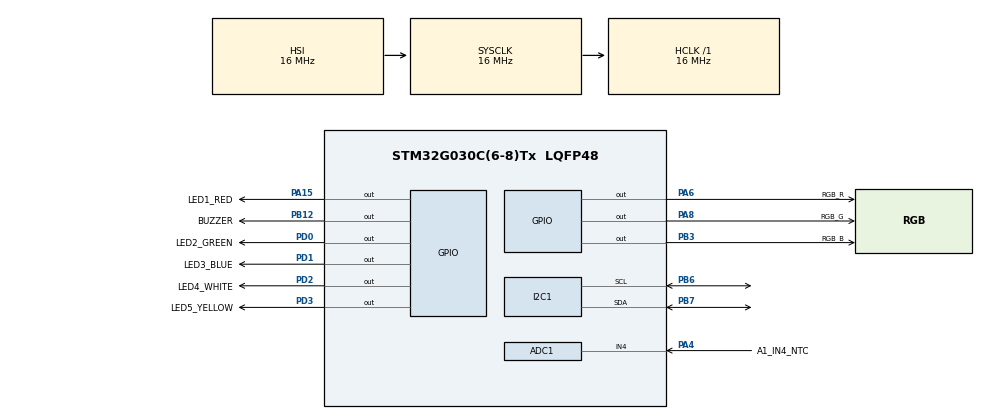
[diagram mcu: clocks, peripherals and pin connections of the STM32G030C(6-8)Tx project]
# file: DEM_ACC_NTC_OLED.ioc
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ADC1.Channel-0\#ChannelRegularConversion=ADC_CHANNEL_4
ADC1.NbrOfConversionFlag=1
ADC1.Rank-0\#ChannelRegularConversion=1
ADC1.SamplingTime-0\#ChannelRegularConversion=ADC_SAMPLINGTIME_COMMON_1
ADC1.SelectedChannel=ADC_CHANNEL_4
ADC1.master=1
I2C1.Timing=0x00503D58
Mcu.Family=STM32G0
Mcu.Name=STM32G030C(6-8)Tx
Mcu.Package=LQFP48
PA13.Mode=Serial_Wire
PA13.Signal=SYS_SWDIO
PA14-BOOT0.Mode=Serial_Wire
PA14-BOOT0.Signal=SYS_SWCLK
PA15.GPIO_Label=LED1_RED
PA15.Signal=GPIO_Output
PA4.GPIO_Label=A1_IN4_NTC
PA4.Mode=IN4
PA4.Signal=ADC1_IN4
PA6.GPIO_Label=RGB_R
PA6.Signal=GPIO_Output
PA8.GPIO_Label=RGB_G
PA8.Signal=GPIO_Output
PB12.GPIO_Label=BUZZER
PB12.Signal=GPIO_Output
PB3.GPIO_Label=RGB_B
PB3.Signal=GPIO_Output
PB6.Mode=I2C
PB6.Signal=I2C1_SCL
PB7.Mode=I2C
PB7.Signal=I2C1_SDA
PD0.GPIO_Label=LED2_GREEN
PD0.Signal=GPIO_Output
PD1.GPIO_Label=LED3_BLUE
PD1.Signal=GPIO_Output
PD2.GPIO_Label=LED4_WHITE
PD2.Signal=GPIO_Output
PD3.GPIO_Label=LED5_YELLOW
PD3.Signal=GPIO_Output
PF0-OSC_IN\ (PF0).Mode=HSE-External-Oscillator
PF0-OSC_IN\ (PF0).Signal=RCC_OSC_IN
PF1-OSC_OUT\ (PF1).Mode=HSE-External-Oscillator
PF1-OSC_OUT\ (PF1).Signal=RCC_OSC_OUT
ProjectManager.HeapSize=0x200
ProjectManager.StackSize=0x400
ProjectManager.TargetToolchain=STM32CubeIDE
RCC.AHBFreq_Value=16000000
RCC.CortexFreq_Value=16000000
RCC.EXTERNAL_CLOCK_VALUE=12288000
RCC.HCLKFreq_Value=16000000
RCC.HSE_VALUE=8000000
RCC.HSI_VALUE=16000000
RCC.SYSCLKFreq_VALUE=16000000
RCC.VCOOutputFreq_Value=128000000
VP_RTC_VS_RTC_Activate.Mode=RTC_Enabled
board=custom

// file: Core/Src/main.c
/* USER CODE BEGIN Header */
/**
  ******************************************************************************
  * @file           : main.c
  * @brief          : Main program body
  ******************************************************************************
  * @attention
  *
  * Copyright (c) 2025 STMicroelectronics.
  * All rights reserved.
  *
  * This software is licensed under terms that can be found in the LICENSE file
  * in the root directory of this software component.
  * If no LICENSE file comes with this software, it is provided AS-IS.
  *
  ******************************************************************************
  */
/* USER CODE END Header */
#include "lis2dw12_reg.h"
#include "ssd1306.h"
#include "stdio.h"
#include "string.h"
#include "ssd1306_tests.h"
#include "DigitalInputOutputs.h"

double Termistor(uint32_t analogValue)
{
double temperature;
uint32_t adcval = 4096 - analogValue;

temperature = log((adcval * 10000) / (4095 - adcval));
temperature = 1 / (0.001129148 + (0.000234125 + (0.0000000876741 * temperature * temperature)) * temperature);
temperature = temperature - 273.15;
return temperature;
}

/* USER CODE BEGIN PTD */
uint8_t counter = 0;
uint8_t rgbcounter = 0;
double Temp1;
/* USER CODE END PTD */

/* USER CODE BEGIN PM */
#define 	SENSOR_BUS 	hi2c1
#define 	BOOT_TIME 20 //ms
/* USER CODE END PM */

ADC_HandleTypeDef hadc1;

I2C_HandleTypeDef hi2c1;

RTC_HandleTypeDef hrtc;

/* USER CODE BEGIN PV */
volatile uint64_t SYSTickTimer = 0; //Sistemin zamanlayıcısının (SysTick) sayaç değeri için kullanılır. Zamanlayıcı tabanlı olayları izlemek için kullanılır.

stmdev_ctx_t dev_ctx; // Bir sensör veya cihazla ilgili işlemleri yönetmek için kullanılan bir yapı.

static int16_t data_raw_acceleration[3]; // İvmeölçerden gelen ham ivme verilerini tutar.
static float acceleration_mg[3]; //Ham ivme verilerini milig cinsine çevirip saklar
static uint8_t whoamI, rst; //Bir sensörün veya cihazın sıfırlama durumunu izlemek için kullanılır.
SystemClockTimer_t SysClkTim;  // Gerçek tanımlama burada!
/* USER CODE END PV */

void SystemClock_Config(void);
static void MX_GPIO_Init(void);
static void MX_RTC_Init(void);
static void MX_ADC1_Init(void);
static void MX_I2C1_Init(void);
/* USER CODE BEGIN PFP */
static int32_t platform_write(void *handle, uint8_t reg, const uint8_t *bufp, uint16_t len);
static int32_t platform_read(void *handle, uint8_t reg, uint8_t *bufp, uint16_t len);
/* USER CODE END PFP */

/* USER CODE BEGIN 0 */
HAL_StatusTypeDef ret = HAL_ERROR;//ret değişkeni, HAL fonksiyonlarının sonuçlarını kontrol etmek için kullanılır.

uint8_t rec_buf[10] =
{ 0 }; //rec_buf, veri almak veya iletmek için kullanılan bir tamponu temsil eder.
volatile uint32_t adcValues[10]; //adcValues, ADC'den alınan verileri saklamak için kullanılan bir dizi olup, volatile anahtar kelimesi ile donanım tarafından değişebileceğini belirtir.
/* USER CODE END 0 */

int main(void)
{

  /* MCU Configuration--------------------------------------------------------*/

  /* Reset of all peripherals, Initializes the Flash interface and the Systick. */
  HAL_Init();

  /* Configure the system clock */
  SystemClock_Config();

  /* Initialize all configured peripherals */
  MX_GPIO_Init();
  MX_RTC_Init();
  MX_ADC1_Init();
  MX_I2C1_Init();
  /* USER CODE BEGIN 2 */
//  ssd1306_TestDrawBitmap();//Ekranın doğru şekilde çalıştığını test etmek için bir bitmap veya test görüntüsü çizer.
//  ssd1306_Init();// OLED ekran modülünü başlatır ve gerekli yapılandırmaları yapar.
//  Buzzer_Control(1);
//  HAL_Delay(200);
//  Buzzer_Control(0);
//  HAL_Delay(200);
//  ssd1306_SetCursor(15, 2);
//  ssd1306_WriteString("DEMSAY", Font_16x26, White);
//  ssd1306_SetCursor(14, 27);
//  ssd1306_WriteString("EDUCATION", Font_11x18, White);
//  ssd1306_SetCursor(45, 46);
//  ssd1306_WriteString("KIT", Font_11x18, White);
//  ssd1306_UpdateScreen();
//  HAL_Delay(3000);
//  ssd1306_Fill(Black);
//  RGB_LED_Control(1, 0, 0);
//  LED_Control(1, 0, 0, 0, 0);
//  HAL_Delay(200);
//  RGB_LED_Control(0, 1, 0);
//  LED_Control(0, 1, 0, 0, 0);
//  HAL_Delay(200);
//  RGB_LED_Control(0, 0, 1);
//  LED_Control(0, 1, 0, 0, 0);
//  HAL_Delay(200);
//  RGB_LED_Control(1, 0, 1);
//  LED_Control(0, 0, 1, 0, 0);
//  HAL_Delay(200);
//  RGB_LED_Control(1, 1, 0);
//  LED_Control(0, 0, 0, 1, 0);
//  HAL_Delay(200);
//  RGB_LED_Control(1, 1, 1);
//  LED_Control(0, 0, 0, 0, 1);
//  HAL_Delay(200);
//  RGB_LED_Control(0, 0, 0);
//  LED_Control(1, 1, 1, 1, 1);
//  HAL_Delay(200);
//  LED_Control(0, 0, 0, 0, 0);
//  Buzzer_Control(1);
//  HAL_Delay(200);
//  Buzzer_Control(0);
//  HAL_Delay(200);

  dev_ctx.write_reg = platform_write;
  dev_ctx.read_reg = platform_read;
  dev_ctx.handle = &SENSOR_BUS;

  lis2dw12_device_id_get(&dev_ctx, &whoamI);
  lis2dw12_reset_set(&dev_ctx, PROPERTY_ENABLE);

  do
  {
  lis2dw12_reset_get(&dev_ctx, &rst);
  } while (rst);

  /* Enable Block Data Update */
  lis2dw12_block_data_update_set(&dev_ctx, PROPERTY_ENABLE);
  /* Set full scale */
  lis2dw12_full_scale_set(&dev_ctx, LIS2DW12_2g);
  /* Configure filtering chain
   * Accelerometer - filter path / bandwidth
   */
  lis2dw12_filter_path_set(&dev_ctx, LIS2DW12_LPF_ON_OUT);
  lis2dw12_filter_bandwidth_set(&dev_ctx, LIS2DW12_ODR_DIV_4);
  /* Configure power mode */
  lis2dw12_power_mode_set(&dev_ctx, LIS2DW12_HIGH_PERFORMANCE);
  /* Set Output Data Rate */
  lis2dw12_data_rate_set(&dev_ctx, LIS2DW12_XL_ODR_25Hz);
  /* USER CODE END 2 */

  /* Infinite loop */
  /* USER CODE BEGIN WHILE */
  while (1)
  {
	  uint8_t reg;
	   	 		/* Read output only if new value is available */
	   	 		lis2dw12_flag_data_ready_get(&dev_ctx, &reg);

	   	 		if (reg)
	   	 		{
	   	 			/* Read acceleration data */
	   	 			memset(data_raw_acceleration, 0, sizeof(data_raw_acceleration));
	   	 			lis2dw12_acceleration_raw_get(&dev_ctx, data_raw_acceleration);				//reading values from the accelerometer
	   	 			acceleration_mg[0] = lis2dw12_from_fs2_to_mg(data_raw_acceleration[0]);
	   	 			acceleration_mg[1] = lis2dw12_from_fs2_to_mg(data_raw_acceleration[1]);
	   	 			acceleration_mg[2] = lis2dw12_from_fs2_to_mg(data_raw_acceleration[2]);
	   	 		}
	   	 		if (SysClkTim._1sn == 1)
	   	 		{
	   	 			HAL_ADC_Start(&hadc1);
	   	 			HAL_ADC_PollForConversion(&hadc1, 50); 							//reading values from the Temperature sensor with ADC
	   	 			adcValues[2] = HAL_ADC_GetValue(&hadc1);
	   	 			HAL_ADC_Stop(&hadc1);
	   	 			Temp1 = Termistor(adcValues[2]) - 10;

	   	 			HAL_GPIO_TogglePin(LED1_RED_GPIO_Port, LED1_RED_Pin);
	   	 			SysClkTim._1sn = 0;
	   	 		}
	   	 		if (SysClkTim._50msn == 1)
	   	 		{
	   	 			HAL_GPIO_TogglePin(LED2_GREEN_GPIO_Port, LED2_GREEN_Pin);
	   	 			SysClkTim._50msn = 0;
	   	 		}
	   	 		if (SysClkTim._100msn == 1)
	   	 		{

	   	 			char str[10] =
	   	 			{ 0 };
	   	 			char Tmp[10] =
	   	 			{ 0 };
	   	 			sprintf(str, "%.2f m/s2", acceleration_mg[2] / 100);
	   	 			HAL_GPIO_TogglePin(LED3_BLUE_GPIO_Port, LED3_BLUE_Pin);

	   	 			ssd1306_SetCursor(2, 0);
	   	 			ssd1306_WriteString("G:", Font_11x18, White);
	   	 			ssd1306_SetCursor(25, 0);
	   	 			ssd1306_WriteString(str, Font_11x18, White);								// printing the values from the accelerometer
	   	 			ssd1306_UpdateScreen();
	   	 			sprintf(Tmp, "%.2fC", Temp1);
	   	 			ssd1306_SetCursor(2, 25);
	   	 			ssd1306_WriteString("Temp:", Font_11x18, White);
	   	 			ssd1306_SetCursor(55, 25);
	   	 			ssd1306_WriteString(Tmp, Font_11x18, White);								// printing the values from the Temperature Sensor (NTC)

	   	 			SysClkTim._100msn = 0;
	   	 		}
	   	 		if (SysClkTim._250msn == 1)
	   	 		{
	   	 			HAL_GPIO_TogglePin(LED4_WHITE_GPIO_Port, LED4_WHITE_Pin);
	   	 			SysClkTim._250msn = 0;
	   	 		}

	   	 		if (SysClkTim._500msn == 1)
	   	 		{
	   	 			counter++;
	   	 			if (counter % 2 == 1)
	   	 				HAL_GPIO_WritePin(LED5_YELLOW_GPIO_Port, LED5_YELLOW_Pin, 1);
	   	 			else
	   	 				HAL_GPIO_WritePin(LED5_YELLOW_GPIO_Port, LED5_YELLOW_Pin, 0);

	   	 			if (counter > 2)
	   	 			{
	   	 				counter = 0;
	   	 			}

	   	 			SysClkTim._500msn = 0;
	   	 		}

	   	 		if (SysClkTim._2sn == 1)
	   	 		{
	   	 			rgbcounter++;
	   	 			switch (rgbcounter)
	   	 			{
	   	 			case 0:
	   	 				HAL_GPIO_WritePin(RGB_R_GPIO_Port, RGB_R_Pin, 1);
	   	 				HAL_GPIO_WritePin(RGB_G_GPIO_Port, RGB_G_Pin, 0);
	   	 				HAL_GPIO_WritePin(RGB_B_GPIO_Port, RGB_B_Pin, 0);
	   	 				break;
	   	 			case 1:
	   	 				HAL_GPIO_WritePin(RGB_R_GPIO_Port, RGB_R_Pin, 0);
	   	 				HAL_GPIO_WritePin(RGB_G_GPIO_Port, RGB_G_Pin, 1);
	   	 				HAL_GPIO_WritePin(RGB_B_GPIO_Port, RGB_B_Pin, 0);
	   	 				break;
	   	 			case 2:
	   	 				HAL_GPIO_WritePin(RGB_R_GPIO_Port, RGB_R_Pin, 0);
	   	 				HAL_GPIO_WritePin(RGB_G_GPIO_Port, RGB_G_Pin, 0);
	   	 				HAL_GPIO_WritePin(RGB_B_GPIO_Port, RGB_B_Pin, 1);
	   	 				break;
	   	 			case 3:
	   	 				HAL_GPIO_WritePin(RGB_R_GPIO_Port, RGB_R_Pin, 1);
	   	 				HAL_GPIO_WritePin(RGB_G_GPIO_Port, RGB_G_Pin, 1);
	   	 				HAL_GPIO_WritePin(RGB_B_GPIO_Port, RGB_B_Pin, 1);
	   	 				break;
	   	 			case 4:
	   	 				HAL_GPIO_WritePin(RGB_R_GPIO_Port, RGB_R_Pin, 0);
	   	 				HAL_GPIO_WritePin(RGB_G_GPIO_Port, RGB_G_Pin, 0);
	   	 				HAL_GPIO_WritePin(RGB_B_GPIO_Port, RGB_B_Pin, 0);
	   	 				break;
	   	 			}
	   	 			if (rgbcounter > 4)
	   	 			{
	   	 				rgbcounter = 0;
	   	 			}

	   	 			SysClkTim._2sn = 0;
	   	 		}
    /* USER CODE END WHILE */

  }
}

void SystemClock_Config(void)
{
  RCC_OscInitTypeDef RCC_OscInitStruct = {0};
  RCC_ClkInitTypeDef RCC_ClkInitStruct = {0};

  /** Configure the main internal regulator output voltage
  */
  HAL_PWREx_ControlVoltageScaling(PWR_REGULATOR_VOLTAGE_SCALE1);

  /** Initializes the RCC Oscillators according to the specified parameters
  * in the RCC_OscInitTypeDef structure.
  */
  RCC_OscInitStruct.OscillatorType = RCC_OSCILLATORTYPE_HSI|RCC_OSCILLATORTYPE_LSI;
  RCC_OscInitStruct.HSIState = RCC_HSI_ON;
  RCC_OscInitStruct.HSIDiv = RCC_HSI_DIV1;
  RCC_OscInitStruct.HSICalibrationValue = RCC_HSICALIBRATION_DEFAULT;
  RCC_OscInitStruct.LSIState = RCC_LSI_ON;
  RCC_OscInitStruct.PLL.PLLState = RCC_PLL_NONE;
  if (HAL_RCC_OscConfig(&RCC_OscInitStruct) != HAL_OK)
  {
    Error_Handler();
  }

  /** Initializes the CPU, AHB and APB buses clocks
  */
  RCC_ClkInitStruct.ClockType = RCC_CLOCKTYPE_HCLK|RCC_CLOCKTYPE_SYSCLK
                              |RCC_CLOCKTYPE_PCLK1;
  RCC_ClkInitStruct.SYSCLKSource = RCC_SYSCLKSOURCE_HSI;
  RCC_ClkInitStruct.AHBCLKDivider = RCC_SYSCLK_DIV1;
  RCC_ClkInitStruct.APB1CLKDivider = RCC_HCLK_DIV1;

  if (HAL_RCC_ClockConfig(&RCC_ClkInitStruct, FLASH_LATENCY_0) != HAL_OK)
  {
    Error_Handler();
  }
}

static void MX_ADC1_Init(void)
{

  ADC_ChannelConfTypeDef sConfig = {0};

  /** Configure the global features of the ADC (Clock, Resolution, Data Alignment and number of conversion)
  */
  hadc1.Instance = ADC1;
  hadc1.Init.ClockPrescaler = ADC_CLOCK_SYNC_PCLK_DIV2;
  hadc1.Init.Resolution = ADC_RESOLUTION_12B;
  hadc1.Init.DataAlign = ADC_DATAALIGN_RIGHT;
  hadc1.Init.ScanConvMode = ADC_SCAN_DISABLE;
  hadc1.Init.EOCSelection = ADC_EOC_SINGLE_CONV;
  hadc1.Init.LowPowerAutoWait = DISABLE;
  hadc1.Init.LowPowerAutoPowerOff = DISABLE;
  hadc1.Init.ContinuousConvMode = DISABLE;
  hadc1.Init.NbrOfConversion = 1;
  hadc1.Init.DiscontinuousConvMode = DISABLE;
  hadc1.Init.ExternalTrigConv = ADC_SOFTWARE_START;
  hadc1.Init.ExternalTrigConvEdge = ADC_EXTERNALTRIGCONVEDGE_NONE;
  hadc1.Init.DMAContinuousRequests = DISABLE;
  hadc1.Init.Overrun = ADC_OVR_DATA_PRESERVED;
  hadc1.Init.SamplingTimeCommon1 = ADC_SAMPLETIME_1CYCLE_5;
  hadc1.Init.SamplingTimeCommon2 = ADC_SAMPLETIME_1CYCLE_5;
  hadc1.Init.OversamplingMode = DISABLE;
  hadc1.Init.TriggerFrequencyMode = ADC_TRIGGER_FREQ_HIGH;
  if (HAL_ADC_Init(&hadc1) != HAL_OK)
  {
    Error_Handler();
  }

  /** Configure Regular Channel
  */
  sConfig.Channel = ADC_CHANNEL_4;
  sConfig.Rank = ADC_REGULAR_RANK_1;
  sConfig.SamplingTime = ADC_SAMPLINGTIME_COMMON_1;
  if (HAL_ADC_ConfigChannel(&hadc1, &sConfig) != HAL_OK)
  {
    Error_Handler();
  }

}

static void MX_I2C1_Init(void)
{

  hi2c1.Instance = I2C1;
  hi2c1.Init.Timing = 0x00503D58;
  hi2c1.Init.OwnAddress1 = 0;
  hi2c1.Init.AddressingMode = I2C_ADDRESSINGMODE_7BIT;
  hi2c1.Init.DualAddressMode = I2C_DUALADDRESS_DISABLE;
  hi2c1.Init.OwnAddress2 = 0;
  hi2c1.Init.OwnAddress2Masks = I2C_OA2_NOMASK;
  hi2c1.Init.GeneralCallMode = I2C_GENERALCALL_DISABLE;
  hi2c1.Init.NoStretchMode = I2C_NOSTRETCH_DISABLE;
  if (HAL_I2C_Init(&hi2c1) != HAL_OK)
  {
    Error_Handler();
  }

  /** Configure Analogue filter
  */
  if (HAL_I2CEx_ConfigAnalogFilter(&hi2c1, I2C_ANALOGFILTER_ENABLE) != HAL_OK)
  {
    Error_Handler();
  }

  /** Configure Digital filter
  */
  if (HAL_I2CEx_ConfigDigitalFilter(&hi2c1, 0) != HAL_OK)
  {
    Error_Handler();
  }

}

static void MX_RTC_Init(void)
{

  /** Initialize RTC Only
  */
  hrtc.Instance = RTC;
  hrtc.Init.HourFormat = RTC_HOURFORMAT_24;
  hrtc.Init.AsynchPrediv = 127;
  hrtc.Init.SynchPrediv = 255;
  hrtc.Init.OutPut = RTC_OUTPUT_DISABLE;
  hrtc.Init.OutPutRemap = RTC_OUTPUT_REMAP_NONE;
  hrtc.Init.OutPutPolarity = RTC_OUTPUT_POLARITY_HIGH;
  hrtc.Init.OutPutType = RTC_OUTPUT_TYPE_OPENDRAIN;
  hrtc.Init.OutPutPullUp = RTC_OUTPUT_PULLUP_NONE;
  if (HAL_RTC_Init(&hrtc) != HAL_OK)
  {
    Error_Handler();
  }

}

static void MX_GPIO_Init(void)
{
  GPIO_InitTypeDef GPIO_InitStruct = {0};

  /* GPIO Ports Clock Enable */
  __HAL_RCC_GPIOF_CLK_ENABLE();
  __HAL_RCC_GPIOA_CLK_ENABLE();
  __HAL_RCC_GPIOB_CLK_ENABLE();
  __HAL_RCC_GPIOD_CLK_ENABLE();

  /*Configure GPIO pin Output Level */
  HAL_GPIO_WritePin(GPIOA, RGB_R_Pin|RGB_G_Pin|LED1_RED_Pin, GPIO_PIN_RESET);

  /*Configure GPIO pin Output Level */
  HAL_GPIO_WritePin(GPIOB, BUZZER_Pin|RGB_B_Pin, GPIO_PIN_RESET);

  /*Configure GPIO pin Output Level */
  HAL_GPIO_WritePin(GPIOD, LED2_GREEN_Pin|LED3_BLUE_Pin|LED4_WHITE_Pin|LED5_YELLOW_Pin, GPIO_PIN_RESET);

  /*Configure GPIO pins : RGB_R_Pin RGB_G_Pin LED1_RED_Pin */
  GPIO_InitStruct.Pin = RGB_R_Pin|RGB_G_Pin|LED1_RED_Pin;
  GPIO_InitStruct.Mode = GPIO_MODE_OUTPUT_PP;
  GPIO_InitStruct.Pull = GPIO_NOPULL;
  GPIO_InitStruct.Speed = GPIO_SPEED_FREQ_LOW;
  HAL_GPIO_Init(GPIOA, &GPIO_InitStruct);

  /*Configure GPIO pins : BUZZER_Pin RGB_B_Pin */
  GPIO_InitStruct.Pin = BUZZER_Pin|RGB_B_Pin;
  GPIO_InitStruct.Mode = GPIO_MODE_OUTPUT_PP;
  GPIO_InitStruct.Pull = GPIO_NOPULL;
  GPIO_InitStruct.Speed = GPIO_SPEED_FREQ_LOW;
  HAL_GPIO_Init(GPIOB, &GPIO_InitStruct);

  /*Configure GPIO pins : LED2_GREEN_Pin LED3_BLUE_Pin LED4_WHITE_Pin LED5_YELLOW_Pin */
  GPIO_InitStruct.Pin = LED2_GREEN_Pin|LED3_BLUE_Pin|LED4_WHITE_Pin|LED5_YELLOW_Pin;
  GPIO_InitStruct.Mode = GPIO_MODE_OUTPUT_PP;
  GPIO_InitStruct.Pull = GPIO_NOPULL;
  GPIO_InitStruct.Speed = GPIO_SPEED_FREQ_LOW;
  HAL_GPIO_Init(GPIOD, &GPIO_InitStruct);

}

/* USER CODE BEGIN 4 */
// SysTick Zamanlayıcı Geri Çağırma Fonksiyonu
void HAL_SYSTICK_Callback(void)
{
SYSTickTimer++;

if (SYSTickTimer % 1 == 0)
{
SysClkTim._1msn = 1;
}
if (SYSTickTimer % 10 == 0)
{
SysClkTim._10msn = 1;
}
if (SYSTickTimer % 50 == 0)
{
SysClkTim._50msn = 1;
}
if (SYSTickTimer % 100 == 0)
{
SysClkTim._100msn = 1;
}
if (SYSTickTimer % 250 == 0)
{
SysClkTim._250msn = 1;
}
if (SYSTickTimer % 500 == 0)
{
SysClkTim._500msn = 1;
}
if (SYSTickTimer % 1000 == 0)
{
SysClkTim._1sn = 1;
}
if (SYSTickTimer % 2000 == 0)
{
SysClkTim._2sn = 1;
}
if (SYSTickTimer % 5000 == 0)
{
SysClkTim._5sn = 1;
}

}
//platform_write ve platform_read Fonksiyonları
static int32_t platform_write(void *handle, uint8_t reg, const uint8_t *bufp, uint16_t len)
{
HAL_I2C_Mem_Write(handle, LIS2DW12_I2C_ADD_H, reg,
I2C_MEMADD_SIZE_8BIT, (uint8_t*) bufp, len, 1000);

return 0;
}
/*
* @brief Read generic device register (platform dependent)
*
* @param handle customizable argument. In this examples is used in
* order to select the correct sensor bus handler.
* @param reg register to read
* @param bufp pointer to buffer that store the data read
* @param len number of consecutive register to read
*
*/static int32_t platform_read(void *handle, uint8_t reg, uint8_t *bufp, uint16_t len)
{
HAL_I2C_Mem_Read(handle, LIS2DW12_I2C_ADD_H, reg,
I2C_MEMADD_SIZE_8BIT, bufp, len, 1000);
return 0;
}
/* USER CODE END 4 */

void Error_Handler(void)
{
  __disable_irq();
  while (1)
  {
  }
}
